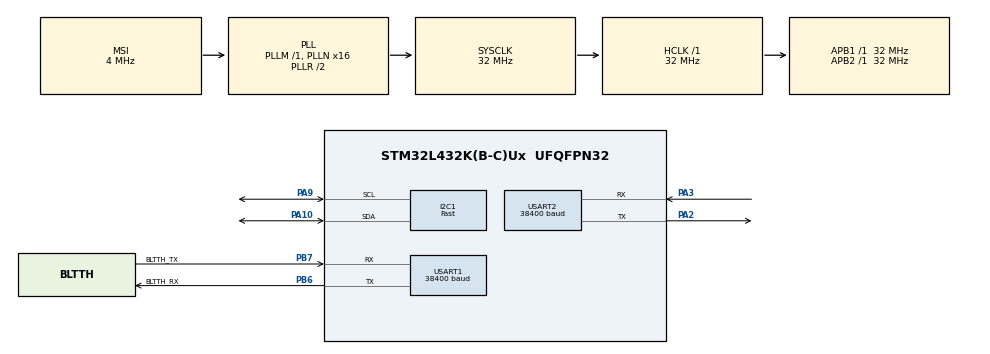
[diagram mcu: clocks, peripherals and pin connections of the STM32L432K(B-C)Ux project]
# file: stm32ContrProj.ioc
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Dma.Request0=USART1_TX
Dma.USART1_TX.0.Direction=DMA_MEMORY_TO_PERIPH
Dma.USART1_TX.0.Instance=DMA1_Channel4
Dma.USART1_TX.0.MemDataAlignment=DMA_MDATAALIGN_BYTE
Dma.USART1_TX.0.MemInc=DMA_MINC_ENABLE
Dma.USART1_TX.0.Mode=DMA_NORMAL
Dma.USART1_TX.0.PeriphDataAlignment=DMA_PDATAALIGN_BYTE
Dma.USART1_TX.0.PeriphInc=DMA_PINC_DISABLE
Dma.USART1_TX.0.Priority=DMA_PRIORITY_LOW
I2C1.Analog_Filter=I2C_ANALOGFILTER_DISABLE
I2C1.CustomTiming=Disabled
I2C1.I2C_Speed_Mode=I2C_Fast
I2C1.Timing=0x00301139
Mcu.Family=STM32L4
Mcu.Name=STM32L432K(B-C)Ux
Mcu.Package=UFQFPN32
NVIC.DMA1_Channel4_IRQn=true\:0\:0\:false\:false\:true\:false\:true\:true
NVIC.PriorityGroup=NVIC_PRIORITYGROUP_4
NVIC.TIM2_IRQn=true\:0\:0\:false\:false\:true\:true\:true\:true
NVIC.USART1_IRQn=true\:0\:0\:false\:false\:true\:true\:true\:true
PA10.Mode=I2C
PA10.Signal=I2C1_SDA
PA2.Mode=Asynchronous
PA2.Signal=USART2_TX
PA3.Mode=Asynchronous
PA3.Signal=USART2_RX
PA9.Mode=I2C
PA9.Signal=I2C1_SCL
PB6.GPIO_Label=BLTTH_RX
PB6.Mode=Asynchronous
PB6.Signal=USART1_TX
PB7.GPIO_Label=BLTTH_TX
PB7.Mode=Asynchronous
PB7.Signal=USART1_RX
ProjectManager.HeapSize=0x200
ProjectManager.StackSize=0x400
ProjectManager.TargetToolchain=STM32CubeIDE
RCC.AHBFreq_Value=32000000
RCC.APB1Freq_Value=32000000
RCC.APB1TimFreq_Value=32000000
RCC.APB2Freq_Value=32000000
RCC.APB2TimFreq_Value=32000000
RCC.CortexFreq_Value=32000000
RCC.HCLKFreq_Value=32000000
RCC.HSE_VALUE=8000000
RCC.HSI16_VALUE=16000000
RCC.HSI48_VALUE=48000000
RCC.HSI_VALUE=16000000
RCC.LSE_VALUE=32768
RCC.MSI_VALUE=4000000
RCC.PLLMUL=RCC_PLLMUL_4
RCC.PLLN=16
RCC.SYSCLKFreq_VALUE=32000000
RCC.SYSCLKSource=RCC_SYSCLKSOURCE_PLLCLK
RCC.VCOOutputFreq_Value=64000000
TIM2.Period=1000
TIM2.Prescaler=3199
USART1.BaudRate=38400
USART1.VirtualMode-Asynchronous=VM_ASYNC
USART2.BaudRate=38400
USART2.VirtualMode-Asynchronous=VM_ASYNC
VP_TIM2_VS_ClockSourceINT.Mode=Internal
board=NUCLEO-L432KC

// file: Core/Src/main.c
/* USER CODE BEGIN Header */
/**
  ******************************************************************************
  * @file           : main.c
  * @brief          : Main program body
  ******************************************************************************
  * @attention
  *
  * <h2><center>&copy; Copyright (c) 2022 STMicroelectronics.
  * All rights reserved.</center></h2>
  *
  * This software component is licensed by ST under BSD 3-Clause license,
  * the "License"; You may not use this file except in compliance with the
  * License. You may obtain a copy of the License at:
  *                        opensource.org/licenses/BSD-3-Clause
  *
  ******************************************************************************
  */
/* USER CODE END Header */
#include "main.h"
#include "dma.h"
#include "i2c.h"
#include "tim.h"
#include "usart.h"
#include "gpio.h"

/* USER CODE BEGIN Includes */
#include <stdio.h>
#include "mpu6050.h"
#include "parser.h"
/* USER CODE END Includes */

/* USER CODE BEGIN PD */
#define TxBuff_SIZE 24
/* USER CODE END PD */

/* USER CODE BEGIN PV */
uint8_t f_initialized = 0;

MPU6050_t mpu;
uint8_t TxBuff[TxBuff_SIZE];
/* USER CODE END PV */

void SystemClock_Config(void);

/* USER CODE BEGIN 0 */
void HAL_TIM_PeriodElapsedCallback(TIM_HandleTypeDef* htim)
{
    if(htim == &htim2)
    {
    	if(f_initialized == 1)
    	{
    		MPU6050_Read_All(&hi2c1, &mpu);
    		if(ParseAccelAngles(TxBuff, TxBuff_SIZE, &mpu) == HAL_OK)
    		{
    			HAL_UART_Transmit_DMA(&huart1, TxBuff, TxBuff_SIZE);
    			HAL_UART_Transmit(&huart2, TxBuff, TxBuff_SIZE, HAL_MAX_DELAY);
    		}
    	}
    }
}
/* USER CODE END 0 */

int main(void)
{

  /* MCU Configuration--------------------------------------------------------*/

  /* Reset of all peripherals, Initializes the Flash interface and the Systick. */
  HAL_Init();

  /* Configure the system clock */
  SystemClock_Config();

  /* Initialize all configured peripherals */
  MX_GPIO_Init();
  MX_I2C1_Init();
  MX_DMA_Init();
  MX_TIM2_Init();
  MX_USART1_UART_Init();
  MX_USART2_UART_Init();
  /* USER CODE BEGIN 2 */

  if(MPU6050_Init(&hi2c1))
  {
	  Error_Handler();
  }

  if (HAL_TIM_Base_Start_IT(&htim2) != HAL_OK)
  {
	  Error_Handler();
  }

  f_initialized = 1;
  printf("TEST\r\n");

  /* USER CODE END 2 */

  /* Infinite loop */
  while (1)
  {

  }
}

void SystemClock_Config(void)
{
  RCC_OscInitTypeDef RCC_OscInitStruct = {0};
  RCC_ClkInitTypeDef RCC_ClkInitStruct = {0};
  RCC_PeriphCLKInitTypeDef PeriphClkInit = {0};

  /** Initializes the RCC Oscillators according to the specified parameters
  * in the RCC_OscInitTypeDef structure.
  */
  RCC_OscInitStruct.OscillatorType = RCC_OSCILLATORTYPE_MSI;
  RCC_OscInitStruct.MSIState = RCC_MSI_ON;
  RCC_OscInitStruct.MSICalibrationValue = 0;
  RCC_OscInitStruct.MSIClockRange = RCC_MSIRANGE_6;
  RCC_OscInitStruct.PLL.PLLState = RCC_PLL_ON;
  RCC_OscInitStruct.PLL.PLLSource = RCC_PLLSOURCE_MSI;
  RCC_OscInitStruct.PLL.PLLM = 1;
  RCC_OscInitStruct.PLL.PLLN = 16;
  RCC_OscInitStruct.PLL.PLLP = RCC_PLLP_DIV7;
  RCC_OscInitStruct.PLL.PLLQ = RCC_PLLQ_DIV2;
  RCC_OscInitStruct.PLL.PLLR = RCC_PLLR_DIV2;
  if (HAL_RCC_OscConfig(&RCC_OscInitStruct) != HAL_OK)
  {
    Error_Handler();
  }
  /** Initializes the CPU, AHB and APB buses clocks
  */
  RCC_ClkInitStruct.ClockType = RCC_CLOCKTYPE_HCLK|RCC_CLOCKTYPE_SYSCLK
                              |RCC_CLOCKTYPE_PCLK1|RCC_CLOCKTYPE_PCLK2;
  RCC_ClkInitStruct.SYSCLKSource = RCC_SYSCLKSOURCE_PLLCLK;
  RCC_ClkInitStruct.AHBCLKDivider = RCC_SYSCLK_DIV1;
  RCC_ClkInitStruct.APB1CLKDivider = RCC_HCLK_DIV1;
  RCC_ClkInitStruct.APB2CLKDivider = RCC_HCLK_DIV1;

  if (HAL_RCC_ClockConfig(&RCC_ClkInitStruct, FLASH_LATENCY_1) != HAL_OK)
  {
    Error_Handler();
  }
  PeriphClkInit.PeriphClockSelection = RCC_PERIPHCLK_USART1|RCC_PERIPHCLK_USART2
                              |RCC_PERIPHCLK_I2C1;
  PeriphClkInit.Usart1ClockSelection = RCC_USART1CLKSOURCE_PCLK2;
  PeriphClkInit.Usart2ClockSelection = RCC_USART2CLKSOURCE_PCLK1;
  PeriphClkInit.I2c1ClockSelection = RCC_I2C1CLKSOURCE_PCLK1;
  if (HAL_RCCEx_PeriphCLKConfig(&PeriphClkInit) != HAL_OK)
  {
    Error_Handler();
  }
  /** Configure the main internal regulator output voltage
  */
  if (HAL_PWREx_ControlVoltageScaling(PWR_REGULATOR_VOLTAGE_SCALE1) != HAL_OK)
  {
    Error_Handler();
  }
}

void Error_Handler(void)
{
}

/************************ (C) COPYRIGHT STMicroelectronics *****END OF FILE****/
